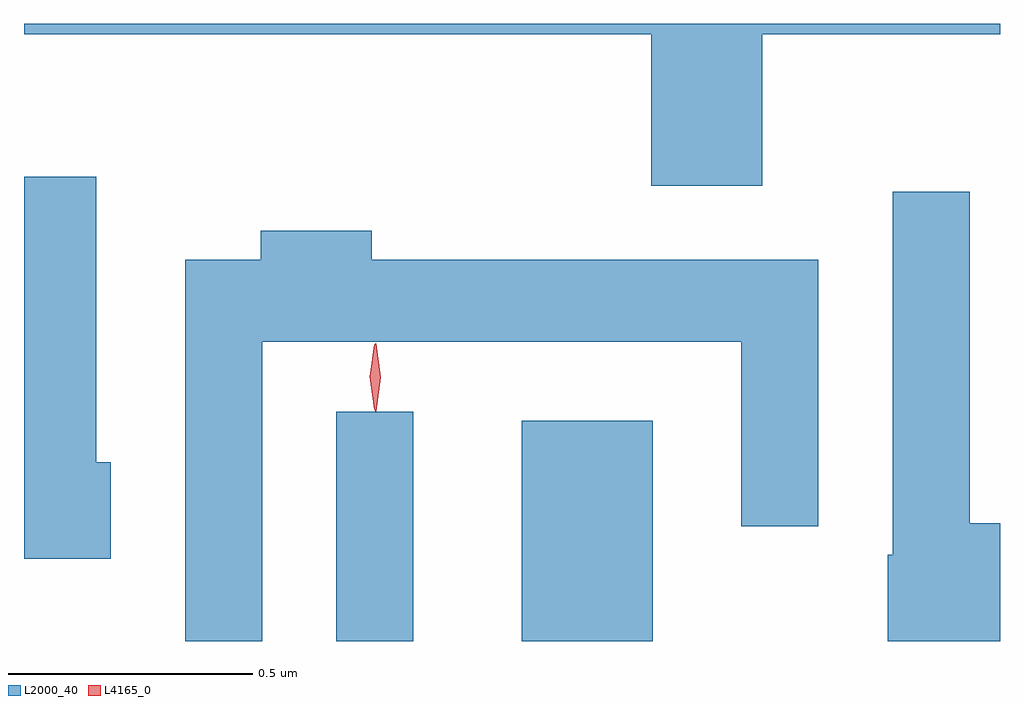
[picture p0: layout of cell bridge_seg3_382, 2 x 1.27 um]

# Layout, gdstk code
import gdstk
lib = gdstk.Library(unit=1e-6, precision=1e-09)
def R(c, l, rs):  # rectangles x0, y0, x1, y1
    for r in rs: c.add(gdstk.rectangle(r[:2], r[2:], *l))
def P(c, l, *ps):  # polygons
    for p in ps: c.add(gdstk.Polygon(p, *l))
L2000_40 = (2000, 40)
L4165_0 = (4165, 0)

bridge_seg3_382 = lib.new_cell('bridge_seg3_382')
R(bridge_seg3_382, L2000_40, [(652.586,1115.892,652.744,1116.363), (652.966,1115.892,653.234,1116.344)])
P(bridge_seg3_382, L2000_40, [(653.459,1117.136),(653.946,1117.136),(653.946,1117.158),(651.946,1117.158),(651.946,1117.136),(653.231,1117.136),(653.231,1116.826),(653.459,1116.826)],
  [(652.124,1116.259),(652.094,1116.259),(652.094,1116.844),(651.946,1116.844),(651.946,1116.061),(652.124,1116.061)],
  [(653.946,1116.134),(653.884,1116.134),(653.884,1116.813),(653.726,1116.813),(653.726,1116.07),(653.716,1116.07),(653.716,1115.892),(653.946,1115.892)],
  [(652.434,1116.506),(653.416,1116.506),(653.416,1116.128),(653.574,1116.128),(653.574,1116.674),(652.659,1116.674),(652.659,1116.734),(652.431,1116.734),(652.431,1116.674),(652.276,1116.674),(652.276,1115.892),(652.434,1115.892)])
P(bridge_seg3_382, L4165_0, [(652.665,1116.367),(652.664,1116.368),(652.655,1116.434),(652.664,1116.5),(652.665,1116.501),(652.665,1116.5),(652.675,1116.434),(652.665,1116.368)],
  [(652.667,1116.363),(652.666,1116.364),(652.657,1116.433),(652.666,1116.502),(652.667,1116.503),(652.668,1116.502),(652.677,1116.433),(652.668,1116.364)])

lib.write_gds('bridge_seg3_382.gds')
